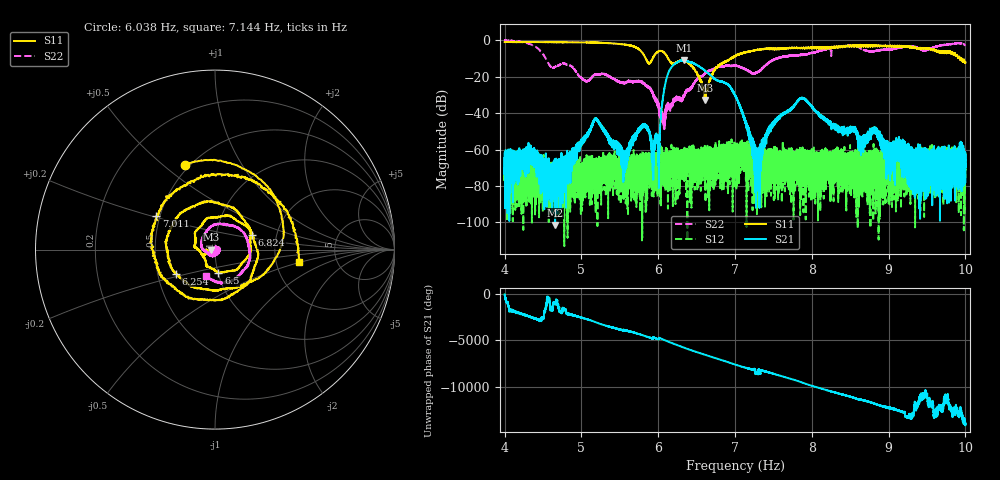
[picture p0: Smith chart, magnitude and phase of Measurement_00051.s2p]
!Created with skrf (http://scikit-rf.org).
# Hz S RI R 50.0
!freq ReS11 ImS11 ReS21 ImS21 ReS12 ImS12 ReS22 ImS22
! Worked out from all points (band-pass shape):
!   14001 points, 4 Hz to 10 Hz, reference 50 ohm
!   highest |S21| = -10.99 dB at 6.338 Hz (marker M1); lowest = -101.4 dB at 4.657 Hz (marker M2)
!   |S21| within 3 dB of the highest: 6.19 Hz to 6.52 Hz (329.5 mHz wide, 5.18 % of centre)
!   lowest |S11| = -32.9 dB at 6.612 Hz (marker M3), VSWR 1.05, Z = 47.8 - j0.0869 ohm
!   |S11| at or under -10 dB: 5.837 Hz to 5.929 Hz (91.69 mHz wide, 1.56 % of centre); 6.128 Hz to 6.952 Hz (823.5 mHz wide, 12.6 % of centre); 9.929 Hz to end of sweep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
!   |S22| runs from -48.8 to -0.2 dB; largest |S21 - S12| = 0.28
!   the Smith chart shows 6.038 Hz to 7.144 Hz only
!   S11 on the Smith chart (normalised r, x): 6.038 Hz: 0.47, +0.60; 6.254 Hz: 0.62, -0.18; 6.5 Hz: 1.00, -0.26; 6.824 Hz: 1.49, +0.25; 7.011 Hz: 0.48, +0.21; 7.144 Hz: 2.69, -0.48
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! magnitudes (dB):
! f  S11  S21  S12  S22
! 4 Hz  -1.1  -70.6  -75.9  -0.3
! 4.657 Hz  -1.1  -101.4  -66.3  -14.7
! 5 Hz  -1.2  -55.6  -70.2  -20.8
! 5.19 Hz  -1.4  -43.1  -77.1  -18.9
! 5.56 Hz  -2.4  -64.2  -72.9  -23.5
! 5.797 Hz  -7.1  -47.4  -63.1  -23.6
! 6 Hz  -6.3  -57.7  -66.3  -34.2
! 6.038 Hz  -6.0  -40.4  -74.6  -39.3
! 6.117 Hz  -9.1  -19.9  -72.8  -37.9
! 6.254 Hz  -11.9  -12.0  -66.4  -32.4
! 6.338 Hz  -11.3  -11.0  -66.4  -30.5
! 6.5 Hz  -17.7  -13.5  -65.9  -21.7
! 6.612 Hz  -32.9  -16.8  -73.5  -18.4
! 6.824 Hz  -13.1  -22.8  -64.5  -14.5
! 7 Hz  -8.8  -30.3  -66.6  -14.0
! 7.011 Hz  -8.5  -31.1  -57.8  -14.0
! 7.144 Hz  -6.5  -45.8  -62.8  -16.0
! 7.291 Hz  -5.3  -62.3  -62.4  -17.6
! 7.575 Hz  -5.0  -42.3  -66.7  -9.9
! 8 Hz  -4.4  -36.5  -67.6  -6.9
! 9 Hz  -3.3  -67.0  -76.0  -5.0
! 10 Hz  -12.2  -77.8  -75.6  -3.1
